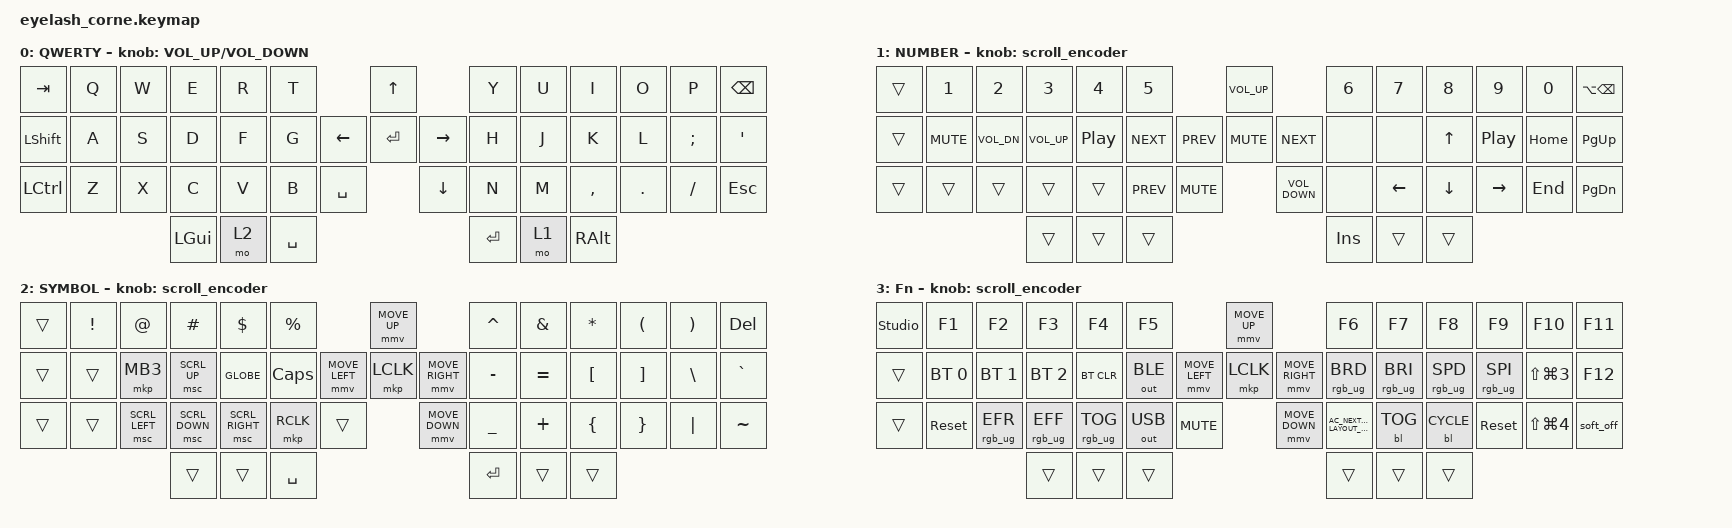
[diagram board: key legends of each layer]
#define ZMK_POINTING_DEFAULT_MOVE_VAL 1200  // 600
#define ZMK_POINTING_DEFAULT_SCRL_VAL 25   // 10

#include <input/processors.dtsi>
#include <zephyr/dt-bindings/input/input-event-codes.h>
#include <behaviors.dtsi>
#include <dt-bindings/zmk/backlight.h>
#include <dt-bindings/zmk/bt.h>
#include <dt-bindings/zmk/keys.h>
#include <dt-bindings/zmk/outputs.h>
#include <dt-bindings/zmk/pointing.h>
#include <dt-bindings/zmk/rgb.h>

&mmv_input_listener { input-processors = <&zip_xy_scaler 2 1>; };

&msc_input_listener { input-processors = <&zip_scroll_scaler 2 1>; };

&msc {
    acceleration-exponent = <1>;      // 0
    time-to-max-speed-ms = <100>;       // 300
    delay-ms = <0>;                   // 0
};

&mmv {
    time-to-max-speed-ms = <500>;
    acceleration-exponent = <1>;
    trigger-period-ms = <16>;
};

/ {
    behaviors {
        td0: td0 {
            compatible = "zmk,behavior-tap-dance";
            display-name = "Shift/Caps Lock Tap Dance";
            #binding-cells = <0>;
            bindings = <&kp LEFT_SHIFT>, <&kp CAPS>;
        };
    };

    rgb_encoder: rgb_encoder {
        compatible = "zmk,behavior-sensor-rotate";
        #sensor-binding-cells = <0>;
        bindings = <&rgb_ug RGB_BRI>, <&rgb_ug RGB_BRD>;
    };

    scroll_encoder: scroll_encoder {
        compatible = "zmk,behavior-sensor-rotate";
        #sensor-binding-cells = <0>;
        bindings = <&msc SCRL_DOWN>, <&msc SCRL_UP>;

        tap-ms = <100>;
    };

    combos {
        compatible = "zmk,combos";

        layer3 {
            bindings = <&mo 3>;
            key-positions = <43 46>;
        };

        right_shift {
            bindings = <&kp RIGHT_SHIFT>;
            key-positions = <26 27>;
        };

        left_alt {
            bindings = <&kp LEFT_ALT>;
            key-positions = <30 31>;
        };
    };

    keymap {
        compatible = "zmk,keymap";

        default_layer {
            display-name = "QWERTY";
            bindings = <
&kp TAB         &kp Q  &kp W  &kp E     &kp R  &kp T                             &kp UP                &kp Y      &kp U  &kp I      &kp O    &kp P     &kp BSPC
&kp LEFT_SHIFT  &kp A  &kp S  &kp D     &kp F  &kp G                   &kp LEFT  &kp ENTER  &kp RIGHT  &kp H      &kp J  &kp K      &kp L    &kp SEMI  &kp SQT
&kp LCTRL       &kp Z  &kp X  &kp C     &kp V  &kp B      &kp SPACE              &kp DOWN              &kp N      &kp M  &kp COMMA  &kp DOT  &kp FSLH  &kp ESC
                              &kp LGUI  &mo 2  &kp SPACE                                               &kp ENTER  &mo 1  &kp RALT
            >;

            sensor-bindings = <&inc_dec_kp C_VOLUME_UP C_VOLUME_DOWN>;
        };

        lower_layer {
            display-name = "NUMBER";
            bindings = <
&trans  &kp N1      &kp N2        &kp N3        &kp N4            &kp N5                                &kp C_VOLUME_UP                &kp N6   &kp N7    &kp N8    &kp N9     &kp N0    &kp LA(BACKSPACE)
&trans  &kp C_MUTE  &kp C_VOL_DN  &kp C_VOL_UP  &kp C_PLAY_PAUSE  &kp C_NEXT                &kp C_PREV  &kp C_MUTE         &kp C_NEXT  &none    &none     &kp UP    &kp C_PP   &kp HOME  &kp PG_UP
&trans  &trans      &trans        &trans        &trans            &kp C_PREV  &kp C_MUTE                &kp C_VOLUME_DOWN              &none    &kp LEFT  &kp DOWN  &kp RIGHT  &kp END   &kp PG_DN
                                  &trans        &trans            &trans                                                               &kp INS  &trans    &trans
            >;

            sensor-bindings = <&scroll_encoder>;
        };

        raise_layer {
            display-name = "SYMBOL";
            bindings = <
&trans  &kp EXCL  &kp AT          &kp HASH        &kp DLLR         &kp PRCNT                            &mmv MOVE_UP                     &kp CARET  &kp AMPS   &kp ASTRK  &kp LPAR  &kp RPAR  &kp DELETE
&trans  &trans    &mkp MB3        &msc SCRL_UP    &kp GLOBE        &kp CLCK             &mmv MOVE_LEFT  &mkp LCLK       &mmv MOVE_RIGHT  &kp MINUS  &kp EQUAL  &kp LBKT   &kp RBKT  &kp BSLH  &kp GRAVE
&trans  &trans    &msc SCRL_LEFT  &msc SCRL_DOWN  &msc SCRL_RIGHT  &mkp RCLK  &trans                    &mmv MOVE_DOWN                   &kp UNDER  &kp PLUS   &kp LBRC   &kp RBRC  &kp PIPE  &kp TILDE
                                  &trans          &trans           &kp SPACE                                                             &kp RET    &trans     &trans
            >;

            sensor-bindings = <&scroll_encoder>;
        };

        layer_3 {
            display-name = "Fn";
            bindings = <
&studio_unlock  &kp F1        &kp F2           &kp F3           &kp F4           &kp F5                                      &mmv MOVE_UP                     &kp F6                                &kp F7           &kp F8           &kp F9           &kp F10               &kp F11
&trans          &bt BT_SEL 0  &bt BT_SEL 1     &bt BT_SEL 2     &bt BT_CLR       &out OUT_BLE                &mmv MOVE_LEFT  &mkp LCLK       &mmv MOVE_RIGHT  &rgb_ug RGB_BRD                       &rgb_ug RGB_BRI  &rgb_ug RGB_SPD  &rgb_ug RGB_SPI  &kp LS(LG(NUMBER_3))  &kp F12
&trans          &sys_reset    &rgb_ug RGB_EFR  &rgb_ug RGB_EFF  &rgb_ug RGB_TOG  &out OUT_USB  &kp C_MUTE                    &mmv MOVE_DOWN                   &kp C_AC_NEXT_KEYBOARD_LAYOUT_SELECT  &bl BL_TOG       &bl BL_CYCLE     &sys_reset       &kp LS(LG(NUMBER_4))  &soft_off
                                               &trans           &trans           &trans                                                                       &trans                                &trans           &trans
            >;

            sensor-bindings = <&scroll_encoder>;
        };
    };
};
